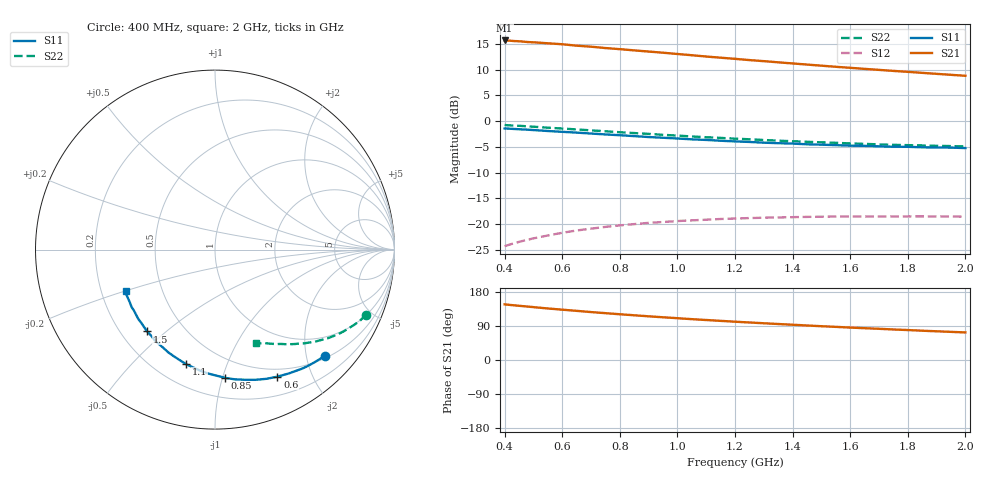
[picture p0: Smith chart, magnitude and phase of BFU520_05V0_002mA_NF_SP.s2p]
! Filename:  P:\Prog\Test\Noise\ATS_data\Testdata_Net\06 Compressed Noise after Statistics\BFU520_APG2013_37_A05_05p0V_002mA_NF_CM01_D.sf
! Date/Time: Fri 26/Apr/2013 14:13:10
! BFU520_APG2013_37_A05_05p0V_1to20mA_NF_CM01_Bias2_R.sf
! Noise Parameter Data File
! BFU520_APG2013_37_A05_05p0V_1to20mA_NF_CM01
! Date/time: Tue Apr 23 16:46:24 2013
! VAR V_out= 5.000000
! VAR I_out= 1.995000
! VAR V_in= 0.807300
! VAR I_in= 0.022200
! Device data file deembeded for feedlines and parallel
! Original file: \06 Compressed Noise after Statistics\BFU520_APG2013_37_A05_05p0V_002mA_NF_CM01_R.sf
! Feed-files: PR047V01_250413_Feed1.s2p, PR047V01_250413_Feed2.s2p
! Parallel-file: PR047V01_250413_Par.s2p
# MHz S MA R 50
!  Freq-MHz  S11-mag  S11-arg  S21-mag  S21-arg  S12-mag  S12-arg  S22-mag  S22-arg
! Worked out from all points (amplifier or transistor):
!   37 points, 400 MHz to 2 GHz, reference 50 ohm
!   highest |S21| = 15.7 dB at 400 MHz (marker M1)
!   |S21| within 3 dB of that: start of sweep to 1.076 GHz
!   unconditionally stable (mu >= 1): nowhere
!   at 500 MHz: K = 0.17, MSG = 19.0 dB, |S12| = -22.7 dB
!   at 1.1 GHz: K = 0.36, MSG = 15.8 dB, |S12| = -19.1 dB
!   at 2 GHz: K = 0.67, MSG = 13.7 dB, |S12| = -18.5 dB
!   lowest NFmin = 0.51 dB at 420 MHz
!   S11 on the Smith chart (normalised r, x): 400 MHz: 0.55, -2.36; 600 MHz: 0.41, -1.53; 850 MHz: 0.35, -1.02; 1.1 GHz: 0.32, -0.73; 1.5 GHz: 0.31, -0.43; 2 GHz: 0.30, -0.20
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400  0.8508 -44.1  6.076 146.7  0.06126 63.7  0.9174 -23.2
440  0.8388 -48.1  5.985 143.8  0.06618 61.4  0.9048 -25.2
460  0.8328 -50.1  5.938 142.4  0.06861 60.3  0.8991 -26.2
480  0.8274 -52.1  5.864 140.9  0.07071 59.2  0.8905 -27.2
500  0.8205 -54.1  5.831 139.5  0.07295 58.1  0.884 -28.1
550  0.8033 -59.2  5.704 136.0  0.07778 55.5  0.8651 -30.4
600  0.7887 -63.8  5.582 132.8  0.08258 53.2  0.8489 -32.5
650  0.7752 -68.2  5.407 129.7  0.08699 50.9  0.8322 -34.5
700  0.7591 -72.9  5.286 126.5  0.09058 48.6  0.8145 -36.4
750  0.7443 -77.1  5.127 123.6  0.09427 46.6  0.799 -38.2
800  0.7309 -81.4  5.004 120.7  0.0974 44.8  0.7816 -39.9
850  0.7166 -85.5  4.869 118.0  0.1003 42.9  0.7672 -41.5
950  0.6908 -93.4  4.619 112.8  0.1052 39.5  0.7373 -44.6
1050  0.6667 -100.8  4.367 107.8  0.1091 36.5  0.7111 -47.4
1100  0.6579 -104.2  4.243 105.5  0.1106 35.1  0.699 -48.6
1200  0.6367 -111.2  4.029 101.0  0.1135 32.5  0.6767 -51.1
1350  0.6119 -120.7  3.727 94.9  0.1164 29.3  0.6471 -54.4
1500  0.5921 -129.7  3.458 89.2  0.1183 26.5  0.6237 -57.5
1600  0.5787 -135.3  3.297 85.6  0.1188 24.9  0.6087 -59.5
1750  0.5649 -143.2  3.077 80.6  0.1192 23.0  0.59 -62.1
1850  0.5584 -148.2  2.946 77.3  0.1194 21.9  0.5818 -63.8
2000  0.5486 -155.1  2.759 72.7  0.1183 20.6  0.5682 -66.5
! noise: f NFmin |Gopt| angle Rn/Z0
400  0.6016  0.5115  19.29  0.2113
460  0.5481  0.4808  24.55  0.1993
600  0.6276  0.4676  27.79  0.2121
800  0.6447  0.4737  41.89  0.1888
1000  0.6727  0.4698  52.24  0.1826
1200  0.7465  0.4593  61.73  0.1749
1400  0.7556  0.4402  74.44  0.1536
1600  0.7967  0.4032  83.76  0.1365
1800  0.6187  0.4043  98.88  0.1051
2000  0.9171  0.4275  108  0.1192
